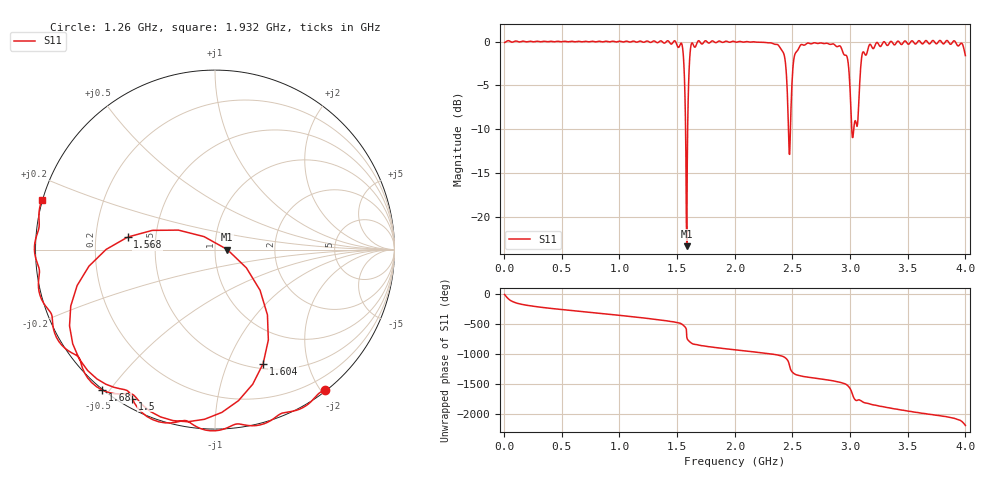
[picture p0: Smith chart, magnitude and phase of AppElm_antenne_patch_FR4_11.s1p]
! TOUCHSTONE file generated by CST MICROWAVE STUDIO
! Date and time: Tue Jun 14 12:12:52 2022
! Project name: AppElm_antenne_patch_FR4.cst
! Parameters = {L=45; W=58.5; e=0.035; h=1.6; lambda=0.190476; ls=120; w0=3.175; w1=0.847; ws=120; y0=18; y1=23.8}
! Header version: 2018
! Port assignment regex: !\s*Touchstone port\s*([0-9]+)\s*=\s*(CST MWS port|CST DS port)\s*([0-9]+|Zmin|Zmax)\s*\(\"(.*)\"\)(\s*mode\s*([0-9]+))?.*
! Touchstone port assignment:
! Touchstone port 1 = CST MWS port 1 ("")
# GHz S MA R 50
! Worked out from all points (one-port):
!   1000 points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, 4 MHz to 4 GHz, reference 50 ohm
!   lowest |S11| = -23.3 dB at 1.584 GHz (marker M1), VSWR 1.15, Z = 57.3 + j0.0573 ohm
!   |S11| at or under -10 dB: 1.573 GHz to 1.591 GHz (18.22 MHz wide, 1.15 % of centre); 2.466 GHz to 2.483 GHz (16.98 MHz wide, 0.686 % of centre); 3.015 GHz to 3.032 GHz (16.83 MHz wide, 0.557 % of centre)
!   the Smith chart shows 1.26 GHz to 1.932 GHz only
!   S11 on the Smith chart (normalised r, x): 1.26 GHz: 0.02, -2.05; 1.5 GHz: 0.03, -0.59; 1.568 GHz: 0.34, +0.06; 1.604 GHz: 0.56, -1.35; 1.68 GHz: -0.00, -0.48; 1.932 GHz: -0.00, +0.14
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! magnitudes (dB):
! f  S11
! 4 MHz  -0.1
! 504 MHz  0.0
! 1.004 GHz  0.0
! 1.26 GHz  -0.1
! 1.5 GHz  -0.5
! 1.504 GHz  -0.6
! 1.548 GHz  -0.8
! 1.568 GHz  -6.2
! 1.584 GHz  -23.3
! 1.604 GHz  -3.2
! 1.624 GHz  -0.3
! 1.68 GHz  0.0
! 1.932 GHz  0.0
! 2.004 GHz  0.0
! 2.396 GHz  -0.8
! 2.432 GHz  -1.8
! 2.472 GHz  -12.8
! 2.504 GHz  -3.1
! 2.524 GHz  -1.4
! 2.576 GHz  -0.3
! 2.904 GHz  -0.5
! 2.972 GHz  -1.7
! 3.004 GHz  -6.7
! 3.044 GHz  -9.0
! 3.104 GHz  -1.5
! 3.168 GHz  -0.4
! 3.504 GHz  -0.3
! 4 GHz  -1.6
